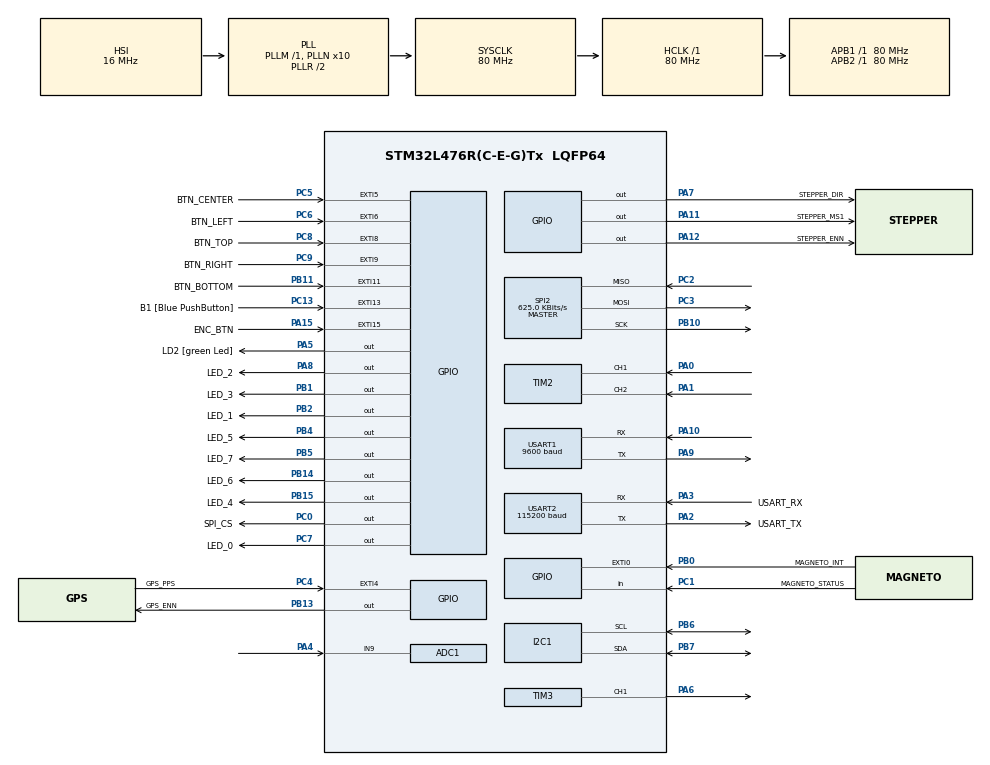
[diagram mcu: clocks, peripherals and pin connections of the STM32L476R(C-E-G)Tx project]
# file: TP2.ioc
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ADC1.Channel-2\#ChannelRegularConversion=ADC_CHANNEL_9
ADC1.ContinuousConvMode=DISABLE
ADC1.ExternalTrigConv=ADC_EXTERNALTRIG_T4_TRGO
ADC1.NbrOfConversionFlag=1
ADC1.OffsetNumber-2\#ChannelRegularConversion=ADC_OFFSET_NONE
ADC1.Rank-2\#ChannelRegularConversion=1
ADC1.SamplingTime-2\#ChannelRegularConversion=ADC_SAMPLETIME_2CYCLES_5
ADC1.master=1
I2C1.Timing=0x10909CEC
Mcu.Family=STM32L4
Mcu.Name=STM32L476R(C-E-G)Tx
Mcu.Package=LQFP64
NVIC.ADC1_2_IRQn=true\:0\:0\:false\:false\:true\:true\:true\:true
NVIC.EXTI15_10_IRQn=true\:0\:0\:false\:false\:true\:true\:true\:true
NVIC.PriorityGroup=NVIC_PRIORITYGROUP_4
NVIC.TIM4_IRQn=true\:0\:0\:false\:false\:true\:true\:true\:true
NVIC.TIM6_DAC_IRQn=true\:15\:0\:false\:false\:true\:false\:true\:true
NVIC.TimeBase=TIM6_DAC_IRQn
NVIC.TimeBaseIP=TIM6
PA0.Signal=S_TIM2_CH1
PA1.Signal=S_TIM2_CH2
PA10.Mode=Asynchronous
PA10.Signal=USART1_RX
PA11.GPIO_Label=STEPPER_MS1
PA11.Signal=GPIO_Output
PA12.GPIO_Label=STEPPER_ENN
PA12.PinState=GPIO_PIN_SET
PA12.Signal=GPIO_Output
PA13\ (JTMS-SWDIO).GPIO_Label=TMS
PA13\ (JTMS-SWDIO).Mode=Trace_Asynchronous_SW
PA13\ (JTMS-SWDIO).Signal=SYS_JTMS-SWDIO
PA14\ (JTCK-SWCLK).GPIO_Label=TCK
PA14\ (JTCK-SWCLK).Mode=Trace_Asynchronous_SW
PA14\ (JTCK-SWCLK).Signal=SYS_JTCK-SWCLK
PA15\ (JTDI).GPIO_Label=ENC_BTN
PA15\ (JTDI).Signal=GPXTI15
PA2.GPIO_Label=USART_TX
PA2.GPIO_Mode=GPIO_MODE_AF_PP
PA2.GPIO_PuPd=GPIO_NOPULL
PA2.GPIO_Speed=GPIO_SPEED_FREQ_VERY_HIGH
PA2.Mode=Asynchronous
PA2.Signal=USART2_TX
PA3.GPIO_Label=USART_RX
PA3.GPIO_Mode=GPIO_MODE_AF_PP
PA3.GPIO_PuPd=GPIO_NOPULL
PA3.GPIO_Speed=GPIO_SPEED_FREQ_VERY_HIGH
PA3.Mode=Asynchronous
PA3.Signal=USART2_RX
PA4.Signal=ADCx_IN9
PA5.GPIO_Label=LD2 [green Led]
PA5.GPIO_ModeDefaultOutputPP=GPIO_MODE_OUTPUT_PP
PA5.GPIO_PuPd=GPIO_NOPULL
PA5.GPIO_Speed=GPIO_SPEED_FREQ_LOW
PA5.Signal=GPIO_Output
PA6.Signal=S_TIM3_CH1
PA7.GPIO_Label=STEPPER_DIR
PA7.Signal=GPIO_Output
PA8.GPIO_Label=LED_2
PA8.Signal=GPIO_Output
PA9.Mode=Asynchronous
PA9.Signal=USART1_TX
PB0.GPIO_Label=MAGNETO_INT
PB0.Signal=GPXTI0
PB1.GPIO_Label=LED_3
PB1.Signal=GPIO_Output
PB10.Mode=Full_Duplex_Master
PB10.Signal=SPI2_SCK
PB11.GPIO_Label=BTN_BOTTOM
PB11.Signal=GPXTI11
PB13.GPIO_Label=GPS_ENN
PB13.Signal=GPIO_Output
PB14.GPIO_Label=LED_6
PB14.Signal=GPIO_Output
PB15.GPIO_Label=LED_4
PB15.Signal=GPIO_Output
PB2.GPIO_Label=LED_1
PB2.Signal=GPIO_Output
PB3\ (JTDO-TRACESWO).Mode=Trace_Asynchronous_SW
PB3\ (JTDO-TRACESWO).Signal=SYS_JTDO-SWO
PB4\ (NJTRST).GPIO_Label=LED_5
PB4\ (NJTRST).Signal=GPIO_Output
PB5.GPIO_Label=LED_7
PB5.Signal=GPIO_Output
PB6.Mode=I2C
PB6.Signal=I2C1_SCL
PB7.Mode=I2C
PB7.Signal=I2C1_SDA
PC0.GPIO_Label=SPI_CS
PC0.PinState=GPIO_PIN_SET
PC0.Signal=GPIO_Output
PC1.GPIO_Label=MAGNETO_STATUS
PC1.Signal=GPIO_Input
PC13.GPIO_Label=B1 [Blue PushButton]
PC13.GPIO_ModeDefaultEXTI=GPIO_MODE_IT_FALLING
PC13.GPIO_PuPd=GPIO_NOPULL
PC13.Signal=GPXTI13
PC14-OSC32_IN\ (PC14).Mode=LSE-External-Oscillator
PC14-OSC32_IN\ (PC14).Signal=RCC_OSC32_IN
PC15-OSC32_OUT\ (PC15).Mode=LSE-External-Oscillator
PC15-OSC32_OUT\ (PC15).Signal=RCC_OSC32_OUT
PC2.Mode=Full_Duplex_Master
PC2.Signal=SPI2_MISO
PC3.Mode=Full_Duplex_Master
PC3.Signal=SPI2_MOSI
PC4.GPIO_Label=GPS_PPS
PC4.Signal=GPXTI4
PC5.GPIO_Label=BTN_CENTER
PC5.Signal=GPXTI5
PC6.GPIO_Label=BTN_LEFT
PC6.Signal=GPXTI6
PC7.GPIO_Label=LED_0
PC7.Signal=GPIO_Output
PC8.GPIO_Label=BTN_TOP
PC8.Signal=GPXTI8
PC9.GPIO_Label=BTN_RIGHT
PC9.Signal=GPXTI9
PH0-OSC_IN\ (PH0).Mode=HSE-External-Oscillator
PH0-OSC_IN\ (PH0).Signal=RCC_OSC_IN
PH1-OSC_OUT\ (PH1).Mode=HSE-External-Oscillator
PH1-OSC_OUT\ (PH1).Signal=RCC_OSC_OUT
ProjectManager.HeapSize=0x200
ProjectManager.StackSize=0x400
ProjectManager.TargetToolchain=STM32CubeIDE
RCC.ADCFreq_Value=64000000
RCC.AHBFreq_Value=80000000
RCC.APB1Freq_Value=80000000
RCC.APB1TimFreq_Value=80000000
RCC.APB2Freq_Value=80000000
RCC.APB2TimFreq_Value=80000000
RCC.CortexFreq_Value=80000000
RCC.HCLKFreq_Value=80000000
RCC.HSE_VALUE=8000000
RCC.HSI_VALUE=16000000
RCC.MSI_VALUE=4000000
RCC.PLLN=10
RCC.PLLSourceVirtual=RCC_PLLSOURCE_HSI
RCC.PREFETCH_ENABLE=1
RCC.SYSCLKFreq_VALUE=80000000
RCC.SYSCLKSource=RCC_SYSCLKSOURCE_PLLCLK
RCC.USBFreq_Value=64000000
RCC.VCOOutputFreq_Value=160000000
SH.ADCx_IN9.0=ADC1_IN9,IN9-Single-Ended
SH.S_TIM2_CH1.0=TIM2_CH1,Encoder_Interface
SH.S_TIM2_CH2.0=TIM2_CH2,Encoder_Interface
SH.S_TIM3_CH1.0=TIM3_CH1,PWM Generation1 CH1
SPI2.BaudRatePrescaler=SPI_BAUDRATEPRESCALER_128
SPI2.CalculateBaudRate=625.0 KBits/s
SPI2.DataSize=SPI_DATASIZE_8BIT
SPI2.Direction=SPI_DIRECTION_2LINES
SPI2.Mode=SPI_MODE_MASTER
SPI2.NSSPMode=SPI_NSS_PULSE_DISABLE
SPI2.VirtualType=VM_MASTER
TIM3.Channel-PWM\ Generation1\ CH1=TIM_CHANNEL_1
TIM4.Period=9999
TIM4.Prescaler=79
TIM4.TIM_MasterOutputTrigger=TIM_TRGO_UPDATE
USART1.BaudRate=9600
USART1.VirtualMode-Asynchronous=VM_ASYNC
USART2.BaudRate=115200
USART2.VirtualMode-Asynchronous=VM_ASYNC
VP_SYS_VS_tim6.Mode=TIM6
VP_TIM3_VS_ClockSourceINT.Mode=Internal
VP_TIM4_VS_ClockSourceINT.Mode=Internal
board=NUCLEO-L476RG

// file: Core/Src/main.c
/* USER CODE BEGIN Header */
/**
  ******************************************************************************
  * @file           : main.c
  * @brief          : Main program body
  ******************************************************************************
  * @attention
  *
  * Copyright (c) 2024 STMicroelectronics.
  * All rights reserved.
  *
  * This software is licensed under terms that can be found in the LICENSE file
  * in the root directory of this software component.
  * If no LICENSE file comes with this software, it is provided AS-IS.
  *
  ******************************************************************************
  */
/* USER CODE END Header */
#include "main.h"
#include "adc.h"
#include "i2c.h"
#include "spi.h"
#include "tim.h"
#include "usart.h"
#include "gpio.h"

/* USER CODE BEGIN Includes */
//#include "botton.h"
/* USER CODE END Includes */

void SystemClock_Config(void);

/* USER CODE BEGIN 0 */
int __io_putchar(int ch)
{
HAL_UART_Transmit(&huart2, (uint8_t *)&ch, 1, HAL_MAX_DELAY);
return ch;
}
int __io_getchar(void)

{

uint8_t ch = 0;

__HAL_UART_CLEAR_OREFLAG(&huart2);

HAL_UART_Receive(&huart2, (uint8_t *)&ch, 1, HAL_MAX_DELAY);

HAL_UART_Transmit(&huart2, (uint8_t *)&ch, 1, HAL_MAX_DELAY);

return ch;

}
/* USER CODE END 0 */

int main(void)
{

  /* MCU Configuration--------------------------------------------------------*/

  /* Reset of all peripherals, Initializes the Flash interface and the Systick. */
  HAL_Init();

  /* Configure the system clock */
  SystemClock_Config();

  /* Initialize all configured peripherals */
  MX_GPIO_Init();
  MX_USART2_UART_Init();
  MX_I2C1_Init();
  MX_SPI2_Init();
  MX_TIM2_Init();
  MX_TIM3_Init();
  MX_USART1_UART_Init();
  MX_ADC1_Init();
  MX_TIM4_Init();

  /* Infinite loop */
  /* USER CODE BEGIN WHILE */
  setup();
  HAL_TIM_Base_Start_IT(&htim4);
  LED_Test_All();
  BUTTON_Update();
  while (1)
  {
    /* USER CODE END WHILE */
	  BUTTON_Update();

  }
}

void SystemClock_Config(void)
{
  RCC_OscInitTypeDef RCC_OscInitStruct = {0};
  RCC_ClkInitTypeDef RCC_ClkInitStruct = {0};

  /** Configure the main internal regulator output voltage
  */
  if (HAL_PWREx_ControlVoltageScaling(PWR_REGULATOR_VOLTAGE_SCALE1) != HAL_OK)
  {
    Error_Handler();
  }

  /** Initializes the RCC Oscillators according to the specified parameters
  * in the RCC_OscInitTypeDef structure.
  */
  RCC_OscInitStruct.OscillatorType = RCC_OSCILLATORTYPE_HSI;
  RCC_OscInitStruct.HSIState = RCC_HSI_ON;
  RCC_OscInitStruct.HSICalibrationValue = RCC_HSICALIBRATION_DEFAULT;
  RCC_OscInitStruct.PLL.PLLState = RCC_PLL_ON;
  RCC_OscInitStruct.PLL.PLLSource = RCC_PLLSOURCE_HSI;
  RCC_OscInitStruct.PLL.PLLM = 1;
  RCC_OscInitStruct.PLL.PLLN = 10;
  RCC_OscInitStruct.PLL.PLLP = RCC_PLLP_DIV7;
  RCC_OscInitStruct.PLL.PLLQ = RCC_PLLQ_DIV2;
  RCC_OscInitStruct.PLL.PLLR = RCC_PLLR_DIV2;
  if (HAL_RCC_OscConfig(&RCC_OscInitStruct) != HAL_OK)
  {
    Error_Handler();
  }

  /** Initializes the CPU, AHB and APB buses clocks
  */
  RCC_ClkInitStruct.ClockType = RCC_CLOCKTYPE_HCLK|RCC_CLOCKTYPE_SYSCLK
                              |RCC_CLOCKTYPE_PCLK1|RCC_CLOCKTYPE_PCLK2;
  RCC_ClkInitStruct.SYSCLKSource = RCC_SYSCLKSOURCE_PLLCLK;
  RCC_ClkInitStruct.AHBCLKDivider = RCC_SYSCLK_DIV1;
  RCC_ClkInitStruct.APB1CLKDivider = RCC_HCLK_DIV1;
  RCC_ClkInitStruct.APB2CLKDivider = RCC_HCLK_DIV1;

  if (HAL_RCC_ClockConfig(&RCC_ClkInitStruct, FLASH_LATENCY_4) != HAL_OK)
  {
    Error_Handler();
  }
}

void HAL_TIM_PeriodElapsedCallback(TIM_HandleTypeDef *htim)
{
  /* USER CODE BEGIN Callback 0 */
	static int taskNumber=0;
	if(htim->Instance == TIM4)
	{
	taskNumber=(taskNumber+1)%3;
	switch (taskNumber)
	{
	case 0   :
		taskLED();
		break;
	case 1 :
		taskButton();
		break;
	case 2 :
		taskScreen();
	    break;
	}
	}
  /* USER CODE END Callback 0 */
  if (htim->Instance == TIM6) {
    HAL_IncTick();
  }
}

void Error_Handler(void)
{
  __disable_irq();
  while (1)
  {
  }
}
